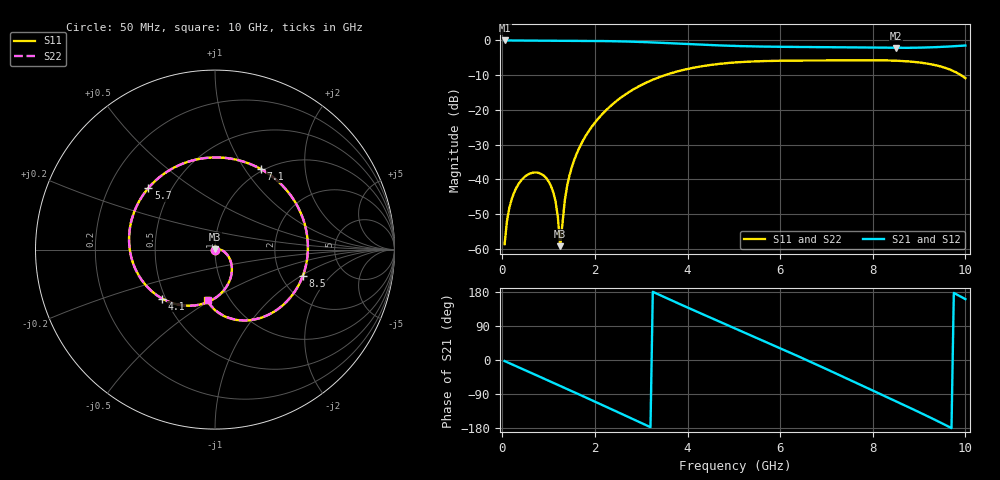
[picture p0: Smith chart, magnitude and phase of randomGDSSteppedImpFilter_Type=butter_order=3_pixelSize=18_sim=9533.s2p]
! freq	dB(S11)	phase(S11)	dB(S12)	phase(S12)
!  dB(S21)	phase(S21)	dB(S22)	phase(S22)
!S-par simulation data
#  GHz  S  DB  R 50
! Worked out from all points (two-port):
!   200 points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, 50 MHz to 10 GHz, reference 50 ohm
!   highest |S21| = 0.00 dB at 50 MHz (marker M1); lowest = -2.1 dB at 8.5 GHz (marker M2)
!   |S21| within 3 dB of the highest: start of sweep to end of sweep
!   lowest |S11| = -59.3 dB at 1.25 GHz (marker M3), VSWR 1.00, Z = 49.9 + j0.0772 ohm
!   |S11| at or under -10 dB: start of sweep to 3.514 GHz; 9.905 GHz to end of sweep
!   |S22| runs from -58.7 to -5.7 dB; largest |S21 - S12| = 0
!   S11 on the Smith chart (normalised r, x): 50 MHz: 1.00, -0.00; 4.1 GHz: 0.48, -0.31; 5.7 GHz: 0.37, +0.34; 7.1 GHz: 0.97, +1.19; 8.5 GHz: 2.61, -1.04; 10 GHz: 0.78, -0.48
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0.05  -58.67 -82.8  -0.00 -2.8  -0.00 -2.8  -58.67 -82.9
0.15  -48.37 -92.6  -0.01 -8.2  -0.01 -8.2  -48.37 -92.6
0.25  -43.98 -100.6  -0.02 -13.7  -0.02 -13.7  -43.98 -100.7
0.7  -38.03 -129.8  -0.05 -38.3  -0.05 -38.3  -38.03 -129.9
0.95  -39.68 -145.9  -0.06 -51.9  -0.06 -51.9  -39.68 -146.2
1.1  -43.71 -158.0  -0.07 -60.1  -0.07 -60.1  -43.70 -158.6
1.2  -50.87 -175.7  -0.07 -65.6  -0.07 -65.6  -50.79 -177.4
1.25  -59.27 134.7  -0.08 -68.4  -0.08 -68.4  -58.62 132.8
1.4  -41.94 21.1  -0.09 -76.6  -0.09 -76.6  -41.92 21.9
1.75  -28.68 -4.4  -0.11 -95.9  -0.11 -95.9  -28.68 -4.1
2.65  -15.63 -56.4  -0.30 -146.4  -0.30 -146.4  -15.63 -56.3
3.4  -10.53 -98.7  -0.66 171.5  -0.66 171.5  -10.53 -98.6
4.1  -7.94 -137.0  -1.10 133.1  -1.10 133.1  -7.94 -136.9
5.05  -6.32 172.2  -1.59 82.2  -1.59 82.2  -6.32 172.2
5.7  -5.93 137.3  -1.78 47.4  -1.78 47.4  -5.93 137.4
6.7  -5.78 82.7  -1.91 -7.3  -1.91 -7.3  -5.78 82.8
7.1  -5.74 60.5  -1.95 -29.7  -1.95 -29.7  -5.74 60.6
7.75  -5.69 24.4  -2.05 -66.4  -2.05 -66.4  -5.69 24.6
8.35  -5.77 -8.6  -2.13 -100.4  -2.13 -100.4  -5.76 -8.3
8.5  -5.84 -16.7  -2.14 -109.0  -2.14 -109.0  -5.83 -16.5
9.35  -7.12 -63.1  -1.94 -158.3  -1.94 -158.3  -7.11 -62.7
10  -10.89 -99.1  -1.46 160.6  -1.46 160.6  -10.87 -98.4
